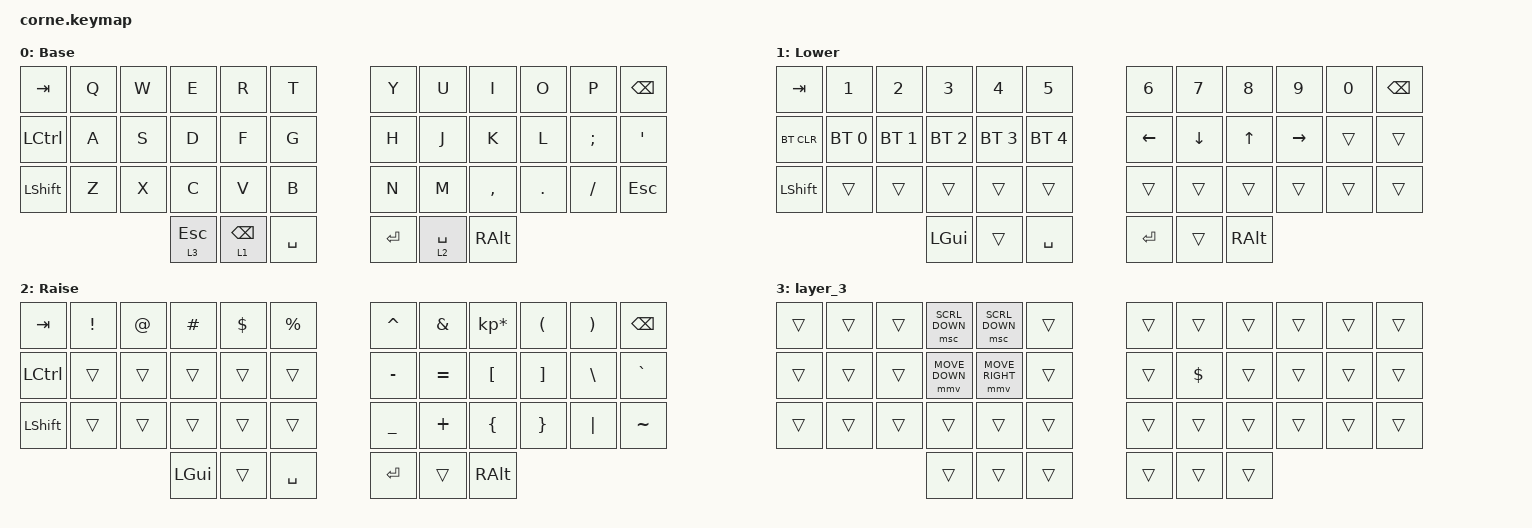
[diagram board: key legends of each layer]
/*
 * Copyright (c) 2020 The ZMK Contributors
 *
 * SPDX-License-Identifier: MIT
 */

#include <behaviors.dtsi>
#include <dt-bindings/zmk/bt.h>
#include <dt-bindings/zmk/keys.h>
#include <dt-bindings/zmk/pointing.h>

/ {
    keymap {
        compatible = "zmk,keymap";

        default_layer {
            display-name = "Base";
            bindings = <
&kp TAB    &kp Q  &kp W  &kp E         &kp R            &kp T        &kp Y    &kp U        &kp I      &kp O    &kp P     &kp BSPC
&kp LCTRL  &kp A  &kp S  &kp D         &kp F            &kp G        &kp H    &kp J        &kp K      &kp L    &kp SEMI  &kp SQT
&kp LSHFT  &kp Z  &kp X  &kp C         &kp V            &kp B        &kp N    &kp M        &kp COMMA  &kp DOT  &kp FSLH  &kp ESC
                         &lt 3 ESCAPE  &lt 1 BACKSPACE  &kp SPACE    &kp RET  &lt 2 SPACE  &kp RALT
            >;
        };

        lower_layer {
            display-name = "Lower";
            bindings = <
&kp TAB     &kp N1        &kp N2        &kp N3        &kp N4        &kp N5          &kp N6    &kp N7    &kp N8    &kp N9     &kp N0  &kp BSPC
&bt BT_CLR  &bt BT_SEL 0  &bt BT_SEL 1  &bt BT_SEL 2  &bt BT_SEL 3  &bt BT_SEL 4    &kp LEFT  &kp DOWN  &kp UP    &kp RIGHT  &trans  &trans
&kp LSHFT   &trans        &trans        &trans        &trans        &trans          &trans    &trans    &trans    &trans     &trans  &trans
                                        &kp LGUI      &trans        &kp SPACE       &kp RET   &trans    &kp RALT
            >;
        };

        raise_layer {

            display-name = "Raise";
            bindings = <
&kp TAB    &kp EXCL  &kp AT  &kp HASH  &kp DLLR  &kp PRCNT    &kp CARET  &kp AMPS   &kp KP_MULTIPLY  &kp LPAR  &kp RPAR  &kp BSPC
&kp LCTRL  &trans    &trans  &trans    &trans    &trans       &kp MINUS  &kp EQUAL  &kp LBKT         &kp RBKT  &kp BSLH  &kp GRAVE
&kp LSHFT  &trans    &trans  &trans    &trans    &trans       &kp UNDER  &kp PLUS   &kp LBRC         &kp RBRC  &kp PIPE  &kp TILDE
                             &kp LGUI  &trans    &kp SPACE    &kp RET    &trans     &kp RALT
            >;
        };

        layer_3 {
            bindings = <
&trans  &trans  &trans  &msc SCRL_DOWN  &msc SCRL_DOWN   &trans    &trans  &trans      &trans  &trans  &trans  &trans
&trans  &trans  &trans  &mmv MOVE_DOWN  &mmv MOVE_RIGHT  &trans    &trans  &kp DOLLAR  &trans  &trans  &trans  &trans
&trans  &trans  &trans  &trans          &trans           &trans    &trans  &trans      &trans  &trans  &trans  &trans
                        &trans          &trans           &trans    &trans  &trans      &trans
            >;
        };
    };
};
